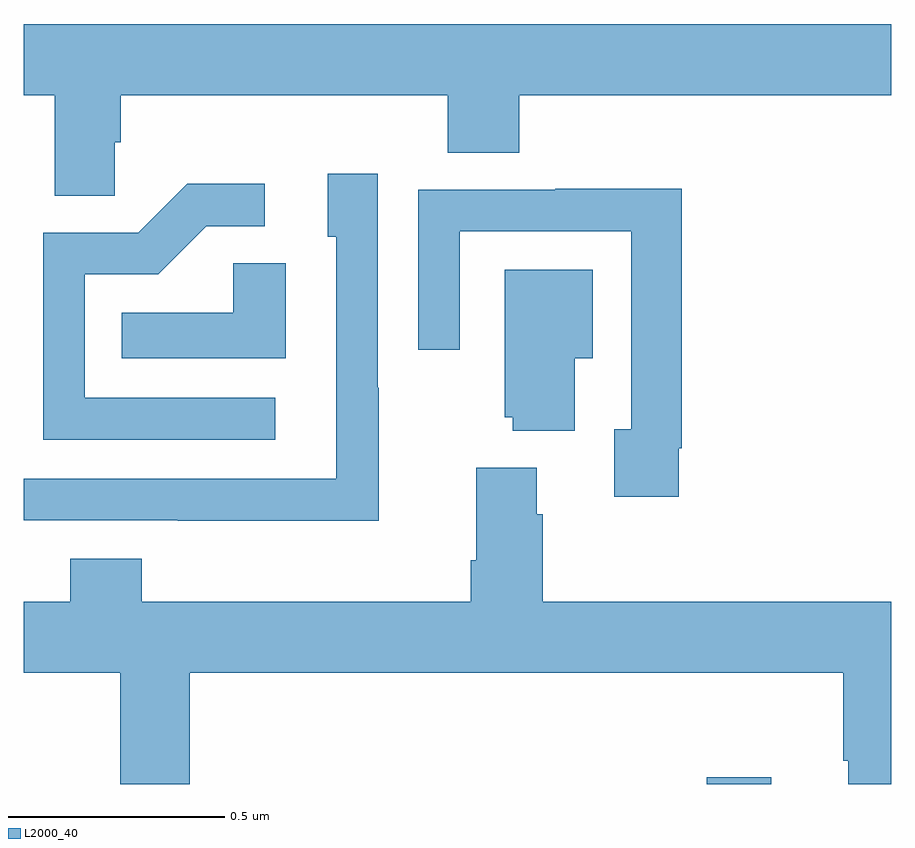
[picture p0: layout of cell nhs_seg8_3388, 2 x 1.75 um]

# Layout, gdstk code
import gdstk
lib = gdstk.Library(unit=1e-6, precision=1e-09)
def R(c, l, rs):  # rectangles x0, y0, x1, y1
    for r in rs: c.add(gdstk.rectangle(r[:2], r[2:], *l))
def P(c, l, *ps):  # polygons
    for p in ps: c.add(gdstk.Polygon(p, *l))
L2000_40 = (2000, 40)

nhs_seg8_3388 = lib.new_cell('nhs_seg8_3388')
R(nhs_seg8_3388, L2000_40, [(157.575,1126.9,157.723,1126.915)])
P(nhs_seg8_3388, L2000_40, [(156.21,1128.379),(156.224,1128.379),(156.224,1128.488),(156.977,1128.488),(156.977,1128.355),(157.142,1128.355),(157.142,1128.488),(158,1128.488),(158,1128.652),(156,1128.652),(156,1128.488),(156.071,1128.488),(156.071,1128.256),(156.21,1128.256)],
  [(156.819,1127.813),(156.816,1127.813),(156.816,1128.307),(156.701,1128.307),(156.701,1128.162),(156.72,1128.162),(156.72,1127.604),(156,1127.604),(156,1127.508),(156.355,1127.508),(156.355,1127.507),(156.819,1127.507)],
  [(156.58,1127.79),(156.141,1127.79),(156.141,1128.075),(156.31,1128.075),(156.421,1128.186),(156.556,1128.186),(156.556,1128.284),(156.377,1128.284),(156.264,1128.171),(156.045,1128.171),(156.045,1127.694),(156.58,1127.694)],
  [(157.51,1127.674),(157.517,1127.674),(157.517,1128.272),(157.225,1128.272),(157.225,1128.27),(156.909,1128.27),(156.909,1127.901),(157.005,1127.901),(157.005,1128.174),(157.401,1128.174),(157.401,1127.718),(157.361,1127.718),(157.361,1127.562),(157.51,1127.562)],
  [(156.604,1128.101),(156.483,1128.101),(156.483,1127.986),(156.226,1127.986),(156.226,1127.882),(156.604,1127.882)],
  [(157.27,1127.882),(157.312,1127.882),(157.312,1128.085),(157.109,1128.085),(157.109,1127.745),(157.127,1127.745),(157.127,1127.714),(157.27,1127.714)],
  [(156.383,1127.156),(157.889,1127.156),(157.889,1126.954),(157.901,1126.954),(157.901,1126.9),(158,1126.9),(158,1127.32),(157.196,1127.32),(157.196,1127.522),(157.183,1127.522),(157.183,1127.629),(157.043,1127.629),(157.043,1127.416),(157.031,1127.416),(157.031,1127.32),(156.272,1127.32),(156.272,1127.419),(156.107,1127.419),(156.107,1127.32),(156,1127.32),(156,1127.156),(156.223,1127.156),(156.223,1126.9),(156.383,1126.9)])

lib.write_gds('nhs_seg8_3388.gds')
